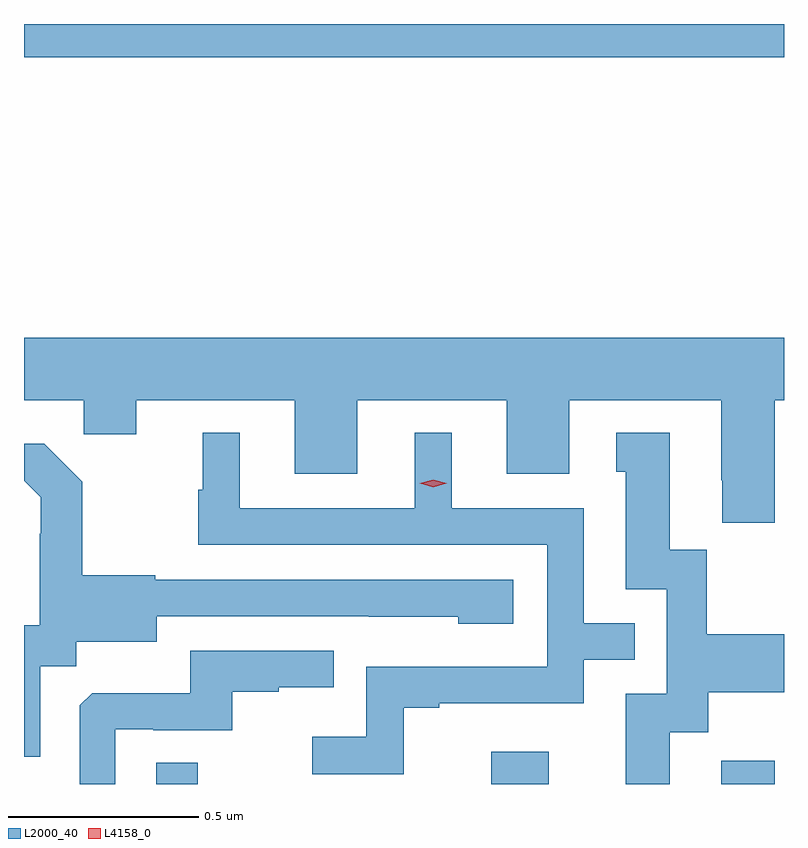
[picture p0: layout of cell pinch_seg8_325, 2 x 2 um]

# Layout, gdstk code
import gdstk
lib = gdstk.Library(unit=1e-6, precision=1e-09)
def R(c, l, rs):  # rectangles x0, y0, x1, y1
    for r in rs: c.add(gdstk.rectangle(r[:2], r[2:], *l))
def P(c, l, *ps):  # polygons
    for p in ps: c.add(gdstk.Polygon(p, *l))
L2000_40 = (2000, 40)
L4158_0 = (4158, 0)

pinch_seg8_325 = lib.new_cell('pinch_seg8_325')
R(pinch_seg8_325, L2000_40, [(597.744,1142.13,597.853,1142.186), (598.625,1142.13,598.777,1142.215), (599.231,1142.13,599.371,1142.191), (597.396,1144.042,599.396,1144.13)])
P(pinch_seg8_325, L2000_40, [(599.371,1143.14),(599.396,1143.14),(599.396,1143.304),(597.396,1143.304),(597.396,1143.14),(597.553,1143.14),(597.553,1143.05),(597.691,1143.05),(597.691,1143.14),(598.109,1143.14),(598.109,1142.946),(598.273,1142.946),(598.273,1143.14),(598.667,1143.14),(598.667,1142.946),(598.831,1142.946),(598.831,1143.14),(599.231,1143.14),(599.231,1142.929),(599.234,1142.929),(599.234,1142.817),(599.371,1142.817)],
  [(598.395,1142.331),(598.489,1142.331),(598.489,1142.343),(598.869,1142.343),(598.869,1142.457),(599.003,1142.457),(599.003,1142.553),(598.869,1142.553),(598.869,1142.856),(598.522,1142.856),(598.522,1143.055),(598.424,1143.055),(598.424,1142.856),(597.964,1142.856),(597.964,1143.055),(597.866,1143.055),(597.866,1142.904),(597.855,1142.904),(597.855,1142.76),(598.773,1142.76),(598.773,1142.439),(598.296,1142.439),(598.296,1142.254),(598.155,1142.254),(598.155,1142.156),(598.395,1142.156)],
  [(599.095,1142.266),(599.197,1142.266),(599.197,1142.372),(599.396,1142.372),(599.396,1142.524),(599.193,1142.524),(599.193,1142.747),(599.095,1142.747),(599.095,1143.055),(598.955,1143.055),(598.955,1142.952),(598.979,1142.952),(598.979,1142.643),(599.088,1142.643),(599.088,1142.367),(598.979,1142.367),(598.979,1142.13),(599.095,1142.13)],
  [(597.439,1142.44),(597.534,1142.44),(597.534,1142.504),(597.745,1142.504),(597.745,1142.571),(598.303,1142.571),(598.303,1142.57),(598.539,1142.57),(598.539,1142.552),(598.684,1142.552),(598.684,1142.667),(597.741,1142.667),(597.741,1142.68),(597.549,1142.68),(597.549,1142.925),(597.449,1143.025),(597.396,1143.025),(597.396,1142.928),(597.44,1142.884),(597.44,1142.789),(597.438,1142.789),(597.438,1142.548),(597.396,1142.548),(597.396,1142.202),(597.439,1142.202)],
  [(597.636,1142.274),(597.736,1142.274),(597.736,1142.271),(597.944,1142.271),(597.944,1142.373),(598.067,1142.373),(598.067,1142.384),(598.211,1142.384),(598.211,1142.481),(597.834,1142.481),(597.834,1142.369),(597.575,1142.369),(597.543,1142.337),(597.543,1142.13),(597.636,1142.13)])
P(pinch_seg8_325, L4158_0, [(598.473,1142.911),(598.437,1142.921),(598.437,1142.921),(598.437,1142.921),(598.473,1142.931),(598.508,1142.921),(598.509,1142.921),(598.508,1142.921)])

lib.write_gds('pinch_seg8_325.gds')
